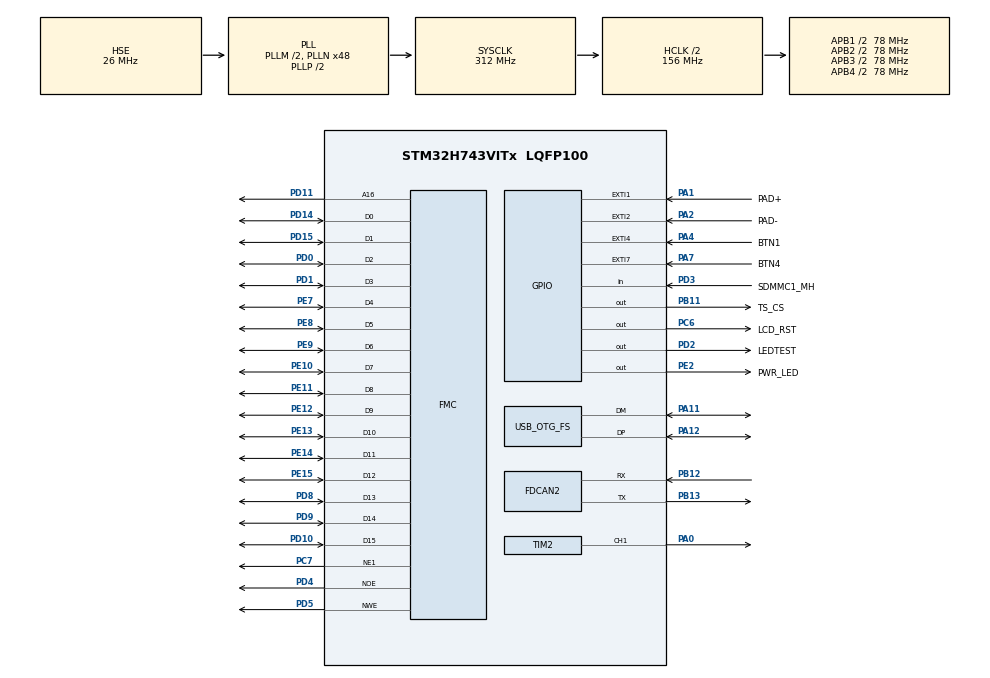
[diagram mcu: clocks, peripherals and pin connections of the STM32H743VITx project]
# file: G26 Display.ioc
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CORTEX_M7.AccessPermission_S-Cortex_Memory_Protection_Unit_Region1_Settings_S=MPU_REGION_FULL_ACCESS
CORTEX_M7.AccessPermission_S-Cortex_Memory_Protection_Unit_Region2_Settings_S=MPU_REGION_FULL_ACCESS
CORTEX_M7.AccessPermission_Spec=MPU_REGION_FULL_ACCESS
CORTEX_M7.BaseAddress_S-Cortex_Memory_Protection_Unit_Region1_Settings_S=0x24000000
CORTEX_M7.BaseAddress_S-Cortex_Memory_Protection_Unit_Region2_Settings_S=0x38000000
CORTEX_M7.BaseAddress_Spec=0x00
CORTEX_M7.CPU_DCache=Enabled
CORTEX_M7.CPU_ICache=Enabled
CORTEX_M7.DisableExec_S-Cortex_Memory_Protection_Unit_Region1_Settings_S=MPU_INSTRUCTION_ACCESS_DISABLE
CORTEX_M7.DisableExec_S-Cortex_Memory_Protection_Unit_Region2_Settings_S=MPU_INSTRUCTION_ACCESS_DISABLE
CORTEX_M7.Enable_S-Cortex_Memory_Protection_Unit_Region1_Settings_S=MPU_REGION_ENABLE
CORTEX_M7.Enable_S-Cortex_Memory_Protection_Unit_Region2_Settings_S=MPU_REGION_ENABLE
CORTEX_M7.Enable_Spec=__NULL
CORTEX_M7.IsBufferable_Spec=MPU_ACCESS_BUFFERABLE
CORTEX_M7.IsCacheable_S-Cortex_Memory_Protection_Unit_Region2_Settings_S=MPU_ACCESS_NOT_CACHEABLE
CORTEX_M7.IsShareable_Spec=MPU_ACCESS_SHAREABLE
CORTEX_M7.MPU_Control=MPU_PRIVILEGED_DEFAULT
CORTEX_M7.Size_S-Cortex_Memory_Protection_Unit_Region1_Settings_S=MPU_REGION_SIZE_512KB
CORTEX_M7.Size_S-Cortex_Memory_Protection_Unit_Region2_Settings_S=MPU_REGION_SIZE_32KB
CORTEX_M7.Size_Spec=MPU_REGION_SIZE_4GB
CORTEX_M7.SubRegionDisable_Spec=0x87
CORTEX_M7.default_mode_Activation=1
DMA2D.ColorMode=DMA2D_OUTPUT_RGB565
DMA2D.Mode=DMA2D_R2M
Dma.Request0=TIM2_CH1
Dma.TIM2_CH1.0.Direction=DMA_MEMORY_TO_PERIPH
Dma.TIM2_CH1.0.EventEnable=DISABLE
Dma.TIM2_CH1.0.FIFOMode=DMA_FIFOMODE_DISABLE
Dma.TIM2_CH1.0.Instance=DMA1_Stream0
Dma.TIM2_CH1.0.MemDataAlignment=DMA_MDATAALIGN_WORD
Dma.TIM2_CH1.0.MemInc=DMA_MINC_ENABLE
Dma.TIM2_CH1.0.Mode=DMA_NORMAL
Dma.TIM2_CH1.0.PeriphDataAlignment=DMA_PDATAALIGN_WORD
Dma.TIM2_CH1.0.PeriphInc=DMA_PINC_DISABLE
Dma.TIM2_CH1.0.Polarity=HAL_DMAMUX_REQ_GEN_RISING
Dma.TIM2_CH1.0.Priority=DMA_PRIORITY_LOW
Dma.TIM2_CH1.0.RequestNumber=1
Dma.TIM2_CH1.0.SignalID=NONE
Dma.TIM2_CH1.0.SyncEnable=DISABLE
Dma.TIM2_CH1.0.SyncPolarity=HAL_DMAMUX_SYNC_NO_EVENT
Dma.TIM2_CH1.0.SyncRequestNumber=1
Dma.TIM2_CH1.0.SyncSignalID=NONE
FDCAN2.CalculateBaudRateNominal=1000000
FDCAN2.CalculateTimeBitNominal=1000
FDCAN2.CalculateTimeQuantumNominal=41.666666666666664
FDCAN2.ClockCalibrationCCU=DISABLE
FDCAN2.DataSyncJumpWidth=11
FDCAN2.DataTimeSeg1=12
FDCAN2.DataTimeSeg2=11
FDCAN2.ExtFiltersNbr=0
FDCAN2.FrameFormat=FDCAN_FRAME_FD_NO_BRS
FDCAN2.Mode=FDCAN_MODE_NORMAL
FDCAN2.NominalPrescaler=1
FDCAN2.NominalSyncJumpWidth=3
FDCAN2.NominalTimeSeg1=20
FDCAN2.NominalTimeSeg2=3
FDCAN2.RxFifo0ElmtsNbr=32
FDCAN2.StdFiltersNbr=1
FDCAN2.TxBuffersNbr=0
FDCAN2.TxFifoQueueElmtsNbr=32
FMC.AddressSetupTime1=2
FMC.BusTurnAroundDuration1=2
FMC.DataSetupTime1=3
IWDG1.Prescaler=IWDG_PRESCALER_32
IWDG1.Reload=999
IWDG1.Window=4095
Mcu.Family=STM32H7
Mcu.Name=STM32H743VITx
Mcu.Package=LQFP100
NVIC.DMA1_Stream0_IRQn=true\:0\:0\:false\:false\:true\:false\:true\:true
NVIC.EXTI1_IRQn=true\:0\:0\:false\:false\:true\:true\:true\:true
NVIC.EXTI2_IRQn=true\:0\:0\:false\:false\:true\:true\:true\:true
NVIC.EXTI4_IRQn=true\:0\:0\:false\:false\:true\:true\:true\:true
NVIC.FDCAN2_IT0_IRQn=true\:2\:0\:true\:false\:true\:true\:true\:true
NVIC.OTG_FS_IRQn=true\:0\:0\:false\:false\:true\:false\:true\:true
NVIC.PriorityGroup=NVIC_PRIORITYGROUP_4
NVIC.TIM15_IRQn=true\:0\:0\:false\:false\:true\:true\:true\:true
PA0.Signal=S_TIM2_CH1_ETR
PA1.GPIO_Label=PAD+
PA1.GPIO_ModeDefaultEXTI=GPIO_MODE_IT_FALLING
PA1.GPIO_PuPd=GPIO_NOPULL
PA1.Signal=GPXTI1
PA11.Mode=Device_Only
PA11.Signal=USB_OTG_FS_DM
PA12.Mode=Device_Only
PA12.Signal=USB_OTG_FS_DP
PA2.GPIO_Label=PAD-
PA2.GPIO_ModeDefaultEXTI=GPIO_MODE_IT_FALLING
PA2.GPIO_PuPd=GPIO_NOPULL
PA2.Signal=GPXTI2
PA4.GPIO_Label=BTN1
PA4.Signal=GPXTI4
PA7.GPIO_Label=BTN4
PA7.Signal=GPXTI7
PB11.GPIO_Label=TS_CS
PB11.Signal=GPIO_Output
PB12.Mode=FDCAN_Activate
PB12.Signal=FDCAN2_RX
PB13.Mode=FDCAN_Activate
PB13.Signal=FDCAN2_TX
PC6.GPIO_Label=LCD_RST
PC6.PinState=GPIO_PIN_SET
PC6.Signal=GPIO_Output
PC7.Mode=NorPsramChipSelect1_1
PC7.Signal=FMC_NE1
PD0.Signal=FMC_D2_DA2
PD1.Signal=FMC_D3_DA3
PD10.Signal=FMC_D15_DA15
PD11.Signal=FMC_A16_CLE
PD14.Signal=FMC_D0_DA0
PD15.Signal=FMC_D1_DA1
PD2.GPIO_Label=LEDTEST
PD2.Signal=GPIO_Output
PD3.GPIO_Label=SDMMC1_MH
PD3.Signal=GPIO_Input
PD4.Signal=FMC_NOE
PD5.Signal=FMC_NWE
PD8.Signal=FMC_D13_DA13
PD9.Signal=FMC_D14_DA14
PE10.Signal=FMC_D7_DA7
PE11.Signal=FMC_D8_DA8
PE12.Signal=FMC_D9_DA9
PE13.Signal=FMC_D10_DA10
PE14.Signal=FMC_D11_DA11
PE15.Signal=FMC_D12_DA12
PE2.GPIO_Label=PWR_LED
PE2.Signal=GPIO_Output
PE7.Signal=FMC_D4_DA4
PE8.Signal=FMC_D5_DA5
PE9.Signal=FMC_D6_DA6
PH0-OSC_IN\ (PH0).Mode=HSE-External-Oscillator
PH0-OSC_IN\ (PH0).Signal=RCC_OSC_IN
PH1-OSC_OUT\ (PH1).Mode=HSE-External-Oscillator
PH1-OSC_OUT\ (PH1).Signal=RCC_OSC_OUT
ProjectManager.HeapSize=0x200
ProjectManager.StackSize=0x400
ProjectManager.TargetToolchain=STM32CubeIDE
RCC.ADCFreq_Value=312000000
RCC.APB1Freq_Value=78000000
RCC.APB2Freq_Value=78000000
RCC.APB3Freq_Value=78000000
RCC.APB4Freq_Value=78000000
RCC.CortexFreq_Value=312000000
RCC.D1PPRE=RCC_APB3_DIV2
RCC.D2PPRE1=RCC_APB1_DIV2
RCC.D2PPRE2=RCC_APB2_DIV2
RCC.D3PPRE=RCC_APB4_DIV2
RCC.DIVM1=2
RCC.DIVM2=2
RCC.DIVM3=2
RCC.DIVN1=48
RCC.DIVN2=48
RCC.DIVN3=14
RCC.DIVQ2=26
RCC.DIVR2=6
RCC.FDCANCLockSelection=RCC_FDCANCLKSOURCE_PLL2
RCC.FMCCLockSelection=RCC_FMCCLKSOURCE_PLL2
RCC.HCLKFreq_Value=156000000
RCC.HPRE=RCC_HCLK_DIV2
RCC.HSE_VALUE=26000000
RCC.PLL2FRACN=0
RCC.PLL3_VCI_Range-AdvancedSettings=RCC_PLL3VCIRANGE_0
RCC.PLLFRACN=0
RCC.PLLSourceVirtual=RCC_PLLSOURCE_HSE
RCC.SDMMC1CLockSelection=RCC_SDMMCCLKSOURCE_PLL2
RCC.SPI123CLockSelection=RCC_SPI123CLKSOURCE_PLL3
RCC.SYSCLKFreq_VALUE=312000000
RCC.SYSCLKSource=RCC_SYSCLKSOURCE_PLLCLK
RCC.USBCLockSelection=RCC_USBCLKSOURCE_HSI48
RCC.USBFreq_Value=48000000
SH.FMC_A16_CLE.0=FMC_A16,A16_1
SH.FMC_D0_DA0.0=FMC_D0,16b-d1
SH.FMC_D10_DA10.0=FMC_D10,16b-d1
SH.FMC_D11_DA11.0=FMC_D11,16b-d1
SH.FMC_D12_DA12.0=FMC_D12,16b-d1
SH.FMC_D13_DA13.0=FMC_D13,16b-d1
SH.FMC_D14_DA14.0=FMC_D14,16b-d1
SH.FMC_D15_DA15.0=FMC_D15,16b-d1
SH.FMC_D1_DA1.0=FMC_D1,16b-d1
SH.FMC_D2_DA2.0=FMC_D2,16b-d1
SH.FMC_D3_DA3.0=FMC_D3,16b-d1
SH.FMC_D4_DA4.0=FMC_D4,16b-d1
SH.FMC_D5_DA5.0=FMC_D5,16b-d1
SH.FMC_D6_DA6.0=FMC_D6,16b-d1
SH.FMC_D7_DA7.0=FMC_D7,16b-d1
SH.FMC_D8_DA8.0=FMC_D8,16b-d1
SH.FMC_D9_DA9.0=FMC_D9,16b-d1
SH.FMC_NOE.0=FMC_NOE,Lcd1
SH.FMC_NWE.0=FMC_NWE,Lcd1
SH.S_TIM2_CH1_ETR.0=TIM2_CH1,PWM Generation1 CH1
STMicroelectronics.X-CUBE-TOUCHGFX.4.26.1_IsPackSelfContextualization=true
TIM15.Prescaler=24
TIM2.Channel-PWM\ Generation1\ CH1=TIM_CHANNEL_1
TIM2.Period=195
USB_DEVICE.CLASS_NAME_FS=CDC
USB_DEVICE.VirtualMode-CDC_FS=Cdc
USB_DEVICE.VirtualModeFS=Cdc_FS
USB_OTG_FS.VirtualMode=Device_Only
VP_DMA2D_VS_DMA2D.Mode=DMA2D_Activate
VP_IWDG1_VS_IWDG.Mode=IWDG_Activate
VP_MEMORYMAP_VS_MEMORYMAP.Mode=CurAppReg
VP_TIM15_VS_ClockSourceINT.Mode=Internal
VP_TIM2_VS_ClockSourceINT.Mode=Internal
VP_USB_DEVICE_VS_USB_DEVICE_CDC_FS.Mode=CDC_FS
board=custom

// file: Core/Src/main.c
/* USER CODE BEGIN Header */
/**
  ******************************************************************************
  * @file           : main.c
  * @brief          : Main program body
  ******************************************************************************
  * @attention
  *
  * Copyright (c) 2025 STMicroelectronics.
  * All rights reserved.
  *
  * This software is licensed under terms that can be found in the LICENSE file
  * in the root directory of this software component.
  * If no LICENSE file comes with this software, it is provided AS-IS.
  *
  ******************************************************************************
  */
/* USER CODE END Header */
#include "main.h"
#include "usb_device.h"

/* USER CODE BEGIN Includes */
#include "lcd_io.h"
#include "rpiDisplayShapes.h"
#include "FreeMonoBold24pt7b.h"
#include "FreeSans18pt7b.h"
#include "rpiSceneBuilderUser.h"
#include "shiftLights.h"
#include "rpiDisplayShapes.h"
#include "easyusbprintln.h"
#include "data.h"
#include <stdio.h>
#include <stdlib.h>
/* USER CODE END Includes */

DMA2D_HandleTypeDef hdma2d;

FDCAN_HandleTypeDef hfdcan2;

IWDG_HandleTypeDef hiwdg1;

TIM_HandleTypeDef htim2;
TIM_HandleTypeDef htim15;
DMA_HandleTypeDef hdma_tim2_ch1;

SRAM_HandleTypeDef hsram1;

void SystemClock_Config(void);
void PeriphCommonClock_Config(void);
static void MPU_Config(void);
static void MX_GPIO_Init(void);
static void MX_DMA_Init(void);
static void MX_TIM2_Init(void);
static void MX_FMC_Init(void);
static void MX_DMA2D_Init(void);
static void MX_FDCAN2_Init(void);
static void MX_TIM15_Init(void);
static void MX_IWDG1_Init(void);

/* USER CODE BEGIN 0 */
uint8_t ledcolors[48];
uint32_t ledbytes[(16 * 24) + 150] __attribute__((section(".nocache")));;
extern uint16_t framebuffer[];

char shiftCounterChar[20] = "";
volatile uint8_t shiftCounter = 0;
volatile uint32_t lastSendMs = 0;
uint8_t shiftCommand;
uint8_t sparkCutFlag = 0;
uint8_t sparkCutCommand = 1;
uint32_t lastShift = 0;

uint8_t button1 = 0;
uint8_t button2 = 0;
uint32_t btn1Hit;
uint32_t btn2Hit;
uint8_t currentScreen = 0;
uint8_t resetFlag = 0;

void HAL_GPIO_EXTI_Callback(uint16_t GPIO_Pin) {
	uint32_t now = HAL_GetTick();

	if ((now - lastShift) < 250)
		return;

	lastShift = now;

  if (GPIO_Pin == PAD__Pin) {
	// Up Shift
	shiftCounter++;
	shiftCommand = 1;
  } else if (GPIO_Pin == PAD_A2_Pin) {
	// Down Shift
	shiftCounter++;
	shiftCommand = 2;
  } else if (GPIO_Pin == BTN1_Pin) {
	resetFlag = 1;
  }
}

uint8_t timerBool = 0;

void HAL_TIM_PeriodElapsedCallback(TIM_HandleTypeDef *htim) {
	if (htim->Instance == TIM15) {
		timerBool = 1;
	}
}

FDCAN_FilterTypeDef canfilter;

FDCAN_RxHeaderTypeDef rxHeader;
uint8_t rxData[16];
volatile uint8_t dataRecieved = 0;
uint32_t id;

void HAL_FDCAN_RxFifo0Callback(FDCAN_HandleTypeDef *hfdcan, uint32_t RxFifo0ITs) {

  if ((RxFifo0ITs & FDCAN_IT_RX_FIFO0_NEW_MESSAGE) != RESET) {

    HAL_FDCAN_GetRxMessage(&hfdcan2, FDCAN_RX_FIFO0, &rxHeader, rxData);

    id = rxHeader.Identifier;
    dataRecieved = 1;
  }
}

uint32_t lastDraw = 0;

void updateMainData(void) {
  processCAN(id, rxData);
}

extern uint16_t rpmVal;
int checkShift() {
	if (shiftCommand == 1) {
		return 1;
	} else if (rpmVal > 10000) {
		return 0;
	}
	return 1;
}

/* USER CODE END 0 */

int main(void)
{

  /* MPU Configuration--------------------------------------------------------*/
  MPU_Config();

  /* Enable the CPU Cache */

  /* Enable I-Cache---------------------------------------------------------*/
  SCB_EnableICache();

  /* Enable D-Cache---------------------------------------------------------*/
  SCB_EnableDCache();

  /* MCU Configuration--------------------------------------------------------*/

  /* Reset of all peripherals, Initializes the Flash interface and the Systick. */
  HAL_Init();

  /* USER CODE BEGIN Init */
  //__HAL_RCC_FMC_CLK_ENABLE();
  /* USER CODE END Init */

  /* Configure the system clock */
  SystemClock_Config();

  /* Configure the peripherals common clocks */
  PeriphCommonClock_Config();

  /* Initialize all configured peripherals */
  MX_GPIO_Init();
  MX_DMA_Init();
  MX_TIM2_Init();
  MX_FMC_Init();
  MX_DMA2D_Init();
  MX_USB_DEVICE_Init();
  MX_FDCAN2_Init();
  MX_TIM15_Init();
  MX_IWDG1_Init();
  /* USER CODE BEGIN 2 */

	canfilter.IdType = FDCAN_STANDARD_ID;
	canfilter.FilterIndex = 0;
	canfilter.FilterType = FDCAN_FILTER_MASK;
	canfilter.FilterConfig = FDCAN_FILTER_TO_RXFIFO0;
	canfilter.FilterID1 = 0x000;
	canfilter.FilterID2 = 0x000;

  HAL_FDCAN_ConfigFilter(&hfdcan2, &canfilter);
  HAL_FDCAN_Start(&hfdcan2);
  HAL_FDCAN_ActivateNotification(&hfdcan2, FDCAN_IT_RX_FIFO0_NEW_MESSAGE, 0);

  HAL_SetFMCMemorySwappingConfig(FMC_SWAPBMAP_SDRAM_SRAM);
  /* USER CODE END 2 */

  /* Infinite loop */
  /* USER CODE BEGIN WHILE */

  shiftLightsInit(&htim2, TIM_CHANNEL_1, ledcolors, ledbytes);
  startUp(&htim2, TIM_CHANNEL_1, ledcolors, ledbytes);
  setColorAll(&htim2, TIM_CHANNEL_1, 0, 0, 0, ledcolors, ledbytes);

  HAL_TIM_Base_Start_IT(&htim15);

  lcdInit();

  MX_IWDG1_Init();

  while (1) {

	  HAL_IWDG_Refresh(&hiwdg1);

	  if (checkShift() && timerBool == 1) {
		FDCAN_TxHeaderTypeDef txShiftHeader;
		uint8_t txData[8] = {0};
		txData[2] = sparkCutCommand;
		txData[1] = shiftCounter;
		txData[0] = shiftCommand;

		txShiftHeader.Identifier = 172;
		txShiftHeader.IdType = FDCAN_STANDARD_ID;
		txShiftHeader.TxFrameType = FDCAN_DATA_FRAME;
		txShiftHeader.DataLength = FDCAN_DLC_BYTES_8;
		txShiftHeader.ErrorStateIndicator = FDCAN_ESI_ACTIVE;
		txShiftHeader.BitRateSwitch = FDCAN_BRS_OFF;
		txShiftHeader.FDFormat = FDCAN_CLASSIC_CAN;
		txShiftHeader.MessageMarker = 0;

		HAL_FDCAN_AddMessageToTxFifoQ(&hfdcan2, &txShiftHeader, txData);

		timerBool = 0;
	  }

	  if (dataRecieved) {
		  updateMainData();
		  dataRecieved = 0;
	  }

	  if (HAL_GetTick() - lastDraw >= 50) {
	      lastDraw = HAL_GetTick();
	      domainscreen();
	  }

	  if (resetFlag) {
		  NVIC_SystemReset();
		  resetFlag = 0;
	  }
    /* USER CODE END WHILE */

  }
}

void SystemClock_Config(void)
{
  RCC_OscInitTypeDef RCC_OscInitStruct = {0};
  RCC_ClkInitTypeDef RCC_ClkInitStruct = {0};

  /** Supply configuration update enable
  */
  HAL_PWREx_ConfigSupply(PWR_LDO_SUPPLY);

  /** Configure the main internal regulator output voltage
  */
  __HAL_PWR_VOLTAGESCALING_CONFIG(PWR_REGULATOR_VOLTAGE_SCALE1);

  while(!__HAL_PWR_GET_FLAG(PWR_FLAG_VOSRDY)) {}

  /** Initializes the RCC Oscillators according to the specified parameters
  * in the RCC_OscInitTypeDef structure.
  */
  RCC_OscInitStruct.OscillatorType = RCC_OSCILLATORTYPE_HSI48|RCC_OSCILLATORTYPE_LSI
                              |RCC_OSCILLATORTYPE_HSE;
  RCC_OscInitStruct.HSEState = RCC_HSE_ON;
  RCC_OscInitStruct.LSIState = RCC_LSI_ON;
  RCC_OscInitStruct.HSI48State = RCC_HSI48_ON;
  RCC_OscInitStruct.PLL.PLLState = RCC_PLL_ON;
  RCC_OscInitStruct.PLL.PLLSource = RCC_PLLSOURCE_HSE;
  RCC_OscInitStruct.PLL.PLLM = 2;
  RCC_OscInitStruct.PLL.PLLN = 48;
  RCC_OscInitStruct.PLL.PLLP = 2;
  RCC_OscInitStruct.PLL.PLLQ = 2;
  RCC_OscInitStruct.PLL.PLLR = 2;
  RCC_OscInitStruct.PLL.PLLRGE = RCC_PLL1VCIRANGE_3;
  RCC_OscInitStruct.PLL.PLLVCOSEL = RCC_PLL1VCOWIDE;
  RCC_OscInitStruct.PLL.PLLFRACN = 0;
  if (HAL_RCC_OscConfig(&RCC_OscInitStruct) != HAL_OK)
  {
    Error_Handler();
  }

  /** Initializes the CPU, AHB and APB buses clocks
  */
  RCC_ClkInitStruct.ClockType = RCC_CLOCKTYPE_HCLK|RCC_CLOCKTYPE_SYSCLK
                              |RCC_CLOCKTYPE_PCLK1|RCC_CLOCKTYPE_PCLK2
                              |RCC_CLOCKTYPE_D3PCLK1|RCC_CLOCKTYPE_D1PCLK1;
  RCC_ClkInitStruct.SYSCLKSource = RCC_SYSCLKSOURCE_PLLCLK;
  RCC_ClkInitStruct.SYSCLKDivider = RCC_SYSCLK_DIV1;
  RCC_ClkInitStruct.AHBCLKDivider = RCC_HCLK_DIV2;
  RCC_ClkInitStruct.APB3CLKDivider = RCC_APB3_DIV2;
  RCC_ClkInitStruct.APB1CLKDivider = RCC_APB1_DIV2;
  RCC_ClkInitStruct.APB2CLKDivider = RCC_APB2_DIV2;
  RCC_ClkInitStruct.APB4CLKDivider = RCC_APB4_DIV2;

  if (HAL_RCC_ClockConfig(&RCC_ClkInitStruct, FLASH_LATENCY_2) != HAL_OK)
  {
    Error_Handler();
  }
}

void PeriphCommonClock_Config(void)
{
  RCC_PeriphCLKInitTypeDef PeriphClkInitStruct = {0};

  /** Initializes the peripherals clock
  */
  PeriphClkInitStruct.PeriphClockSelection = RCC_PERIPHCLK_FMC|RCC_PERIPHCLK_FDCAN;
  PeriphClkInitStruct.PLL2.PLL2M = 2;
  PeriphClkInitStruct.PLL2.PLL2N = 48;
  PeriphClkInitStruct.PLL2.PLL2P = 2;
  PeriphClkInitStruct.PLL2.PLL2Q = 26;
  PeriphClkInitStruct.PLL2.PLL2R = 6;
  PeriphClkInitStruct.PLL2.PLL2RGE = RCC_PLL2VCIRANGE_3;
  PeriphClkInitStruct.PLL2.PLL2VCOSEL = RCC_PLL2VCOWIDE;
  PeriphClkInitStruct.PLL2.PLL2FRACN = 0;
  PeriphClkInitStruct.FmcClockSelection = RCC_FMCCLKSOURCE_PLL2;
  PeriphClkInitStruct.FdcanClockSelection = RCC_FDCANCLKSOURCE_PLL2;
  if (HAL_RCCEx_PeriphCLKConfig(&PeriphClkInitStruct) != HAL_OK)
  {
    Error_Handler();
  }
}

static void MX_DMA2D_Init(void)
{

  hdma2d.Instance = DMA2D;
  hdma2d.Init.Mode = DMA2D_R2M;
  hdma2d.Init.ColorMode = DMA2D_OUTPUT_RGB565;
  hdma2d.Init.OutputOffset = 0;
  if (HAL_DMA2D_Init(&hdma2d) != HAL_OK)
  {
    Error_Handler();
  }

}

static void MX_FDCAN2_Init(void)
{

  hfdcan2.Instance = FDCAN2;
  hfdcan2.Init.FrameFormat = FDCAN_FRAME_FD_NO_BRS;
  hfdcan2.Init.Mode = FDCAN_MODE_NORMAL;
  hfdcan2.Init.AutoRetransmission = DISABLE;
  hfdcan2.Init.TransmitPause = DISABLE;
  hfdcan2.Init.ProtocolException = DISABLE;
  hfdcan2.Init.NominalPrescaler = 1;
  hfdcan2.Init.NominalSyncJumpWidth = 3;
  hfdcan2.Init.NominalTimeSeg1 = 20;
  hfdcan2.Init.NominalTimeSeg2 = 3;
  hfdcan2.Init.DataPrescaler = 1;
  hfdcan2.Init.DataSyncJumpWidth = 11;
  hfdcan2.Init.DataTimeSeg1 = 12;
  hfdcan2.Init.DataTimeSeg2 = 11;
  hfdcan2.Init.MessageRAMOffset = 0;
  hfdcan2.Init.StdFiltersNbr = 1;
  hfdcan2.Init.ExtFiltersNbr = 0;
  hfdcan2.Init.RxFifo0ElmtsNbr = 32;
  hfdcan2.Init.RxFifo0ElmtSize = FDCAN_DATA_BYTES_8;
  hfdcan2.Init.RxFifo1ElmtsNbr = 0;
  hfdcan2.Init.RxFifo1ElmtSize = FDCAN_DATA_BYTES_8;
  hfdcan2.Init.RxBuffersNbr = 0;
  hfdcan2.Init.RxBufferSize = FDCAN_DATA_BYTES_8;
  hfdcan2.Init.TxEventsNbr = 0;
  hfdcan2.Init.TxBuffersNbr = 0;
  hfdcan2.Init.TxFifoQueueElmtsNbr = 32;
  hfdcan2.Init.TxFifoQueueMode = FDCAN_TX_FIFO_OPERATION;
  hfdcan2.Init.TxElmtSize = FDCAN_DATA_BYTES_8;
  if (HAL_FDCAN_Init(&hfdcan2) != HAL_OK)
  {
    Error_Handler();
  }

}

static void MX_IWDG1_Init(void)
{

  hiwdg1.Instance = IWDG1;
  hiwdg1.Init.Prescaler = IWDG_PRESCALER_32;
  hiwdg1.Init.Window = 4095;
  hiwdg1.Init.Reload = 999;
  if (HAL_IWDG_Init(&hiwdg1) != HAL_OK)
  {
    Error_Handler();
  }

}

static void MX_TIM2_Init(void)
{

  TIM_ClockConfigTypeDef sClockSourceConfig = {0};
  TIM_MasterConfigTypeDef sMasterConfig = {0};
  TIM_OC_InitTypeDef sConfigOC = {0};

  htim2.Instance = TIM2;
  htim2.Init.Prescaler = 0;
  htim2.Init.CounterMode = TIM_COUNTERMODE_UP;
  htim2.Init.Period = 195;
  htim2.Init.ClockDivision = TIM_CLOCKDIVISION_DIV1;
  htim2.Init.AutoReloadPreload = TIM_AUTORELOAD_PRELOAD_DISABLE;
  if (HAL_TIM_Base_Init(&htim2) != HAL_OK)
  {
    Error_Handler();
  }
  sClockSourceConfig.ClockSource = TIM_CLOCKSOURCE_INTERNAL;
  if (HAL_TIM_ConfigClockSource(&htim2, &sClockSourceConfig) != HAL_OK)
  {
    Error_Handler();
  }
  if (HAL_TIM_PWM_Init(&htim2) != HAL_OK)
  {
    Error_Handler();
  }
  sMasterConfig.MasterOutputTrigger = TIM_TRGO_RESET;
  sMasterConfig.MasterSlaveMode = TIM_MASTERSLAVEMODE_DISABLE;
  if (HAL_TIMEx_MasterConfigSynchronization(&htim2, &sMasterConfig) != HAL_OK)
  {
    Error_Handler();
  }
  sConfigOC.OCMode = TIM_OCMODE_PWM1;
  sConfigOC.Pulse = 0;
  sConfigOC.OCPolarity = TIM_OCPOLARITY_HIGH;
  sConfigOC.OCFastMode = TIM_OCFAST_DISABLE;
  if (HAL_TIM_PWM_ConfigChannel(&htim2, &sConfigOC, TIM_CHANNEL_1) != HAL_OK)
  {
    Error_Handler();
  }
  HAL_TIM_MspPostInit(&htim2);

}

static void MX_TIM15_Init(void)
{

  TIM_ClockConfigTypeDef sClockSourceConfig = {0};
  TIM_MasterConfigTypeDef sMasterConfig = {0};

  htim15.Instance = TIM15;
  htim15.Init.Prescaler = 24;
  htim15.Init.CounterMode = TIM_COUNTERMODE_UP;
  htim15.Init.Period = 65535;
  htim15.Init.ClockDivision = TIM_CLOCKDIVISION_DIV1;
  htim15.Init.RepetitionCounter = 0;
  htim15.Init.AutoReloadPreload = TIM_AUTORELOAD_PRELOAD_DISABLE;
  if (HAL_TIM_Base_Init(&htim15) != HAL_OK)
  {
    Error_Handler();
  }
  sClockSourceConfig.ClockSource = TIM_CLOCKSOURCE_INTERNAL;
  if (HAL_TIM_ConfigClockSource(&htim15, &sClockSourceConfig) != HAL_OK)
  {
    Error_Handler();
  }
  sMasterConfig.MasterOutputTrigger = TIM_TRGO_RESET;
  sMasterConfig.MasterSlaveMode = TIM_MASTERSLAVEMODE_DISABLE;
  if (HAL_TIMEx_MasterConfigSynchronization(&htim15, &sMasterConfig) != HAL_OK)
  {
    Error_Handler();
  }

}

static void MX_DMA_Init(void)
{

  /* DMA controller clock enable */
  __HAL_RCC_DMA1_CLK_ENABLE();

  /* DMA interrupt init */
  /* DMA1_Stream0_IRQn interrupt configuration */
  HAL_NVIC_SetPriority(DMA1_Stream0_IRQn, 0, 0);
  HAL_NVIC_EnableIRQ(DMA1_Stream0_IRQn);

}

/* FMC initialization function */
static void MX_FMC_Init(void)
{

  FMC_NORSRAM_TimingTypeDef Timing = {0};

  /** Perform the SRAM1 memory initialization sequence
  */
  hsram1.Instance = FMC_NORSRAM_DEVICE;
  hsram1.Extended = FMC_NORSRAM_EXTENDED_DEVICE;
  /* hsram1.Init */
  hsram1.Init.NSBank = FMC_NORSRAM_BANK1;
  hsram1.Init.DataAddressMux = FMC_DATA_ADDRESS_MUX_DISABLE;
  hsram1.Init.MemoryType = FMC_MEMORY_TYPE_SRAM;
  hsram1.Init.MemoryDataWidth = FMC_NORSRAM_MEM_BUS_WIDTH_16;
  hsram1.Init.BurstAccessMode = FMC_BURST_ACCESS_MODE_DISABLE;
  hsram1.Init.WaitSignalPolarity = FMC_WAIT_SIGNAL_POLARITY_LOW;
  hsram1.Init.WaitSignalActive = FMC_WAIT_TIMING_BEFORE_WS;
  hsram1.Init.WriteOperation = FMC_WRITE_OPERATION_ENABLE;
  hsram1.Init.WaitSignal = FMC_WAIT_SIGNAL_DISABLE;
  hsram1.Init.ExtendedMode = FMC_EXTENDED_MODE_DISABLE;
  hsram1.Init.AsynchronousWait = FMC_ASYNCHRONOUS_WAIT_DISABLE;
  hsram1.Init.WriteBurst = FMC_WRITE_BURST_DISABLE;
  hsram1.Init.ContinuousClock = FMC_CONTINUOUS_CLOCK_SYNC_ONLY;
  hsram1.Init.WriteFifo = FMC_WRITE_FIFO_ENABLE;
  hsram1.Init.PageSize = FMC_PAGE_SIZE_NONE;
  /* Timing */
  Timing.AddressSetupTime = 2;
  Timing.AddressHoldTime = 15;
  Timing.DataSetupTime = 3;
  Timing.BusTurnAroundDuration = 2;
  Timing.CLKDivision = 16;
  Timing.DataLatency = 17;
  Timing.AccessMode = FMC_ACCESS_MODE_A;
  /* ExtTiming */

  if (HAL_SRAM_Init(&hsram1, &Timing, NULL) != HAL_OK)
  {
    Error_Handler( );
  }

}

static void MX_GPIO_Init(void)
{
  GPIO_InitTypeDef GPIO_InitStruct = {0};

  /* GPIO Ports Clock Enable */
  __HAL_RCC_GPIOE_CLK_ENABLE();
  __HAL_RCC_GPIOH_CLK_ENABLE();
  __HAL_RCC_GPIOA_CLK_ENABLE();
  __HAL_RCC_GPIOB_CLK_ENABLE();
  __HAL_RCC_GPIOD_CLK_ENABLE();
  __HAL_RCC_GPIOC_CLK_ENABLE();

  /*Configure GPIO pin Output Level */
  HAL_GPIO_WritePin(PWR_LED_GPIO_Port, PWR_LED_Pin, GPIO_PIN_RESET);

  /*Configure GPIO pin Output Level */
  HAL_GPIO_WritePin(TS_CS_GPIO_Port, TS_CS_Pin, GPIO_PIN_RESET);

  /*Configure GPIO pin Output Level */
  HAL_GPIO_WritePin(LCD_RST_GPIO_Port, LCD_RST_Pin, GPIO_PIN_SET);

  /*Configure GPIO pin Output Level */
  HAL_GPIO_WritePin(LEDTEST_GPIO_Port, LEDTEST_Pin, GPIO_PIN_RESET);

  /*Configure GPIO pin : PWR_LED_Pin */
  GPIO_InitStruct.Pin = PWR_LED_Pin;
  GPIO_InitStruct.Mode = GPIO_MODE_OUTPUT_PP;
  GPIO_InitStruct.Pull = GPIO_NOPULL;
  GPIO_InitStruct.Speed = GPIO_SPEED_FREQ_LOW;
  HAL_GPIO_Init(PWR_LED_GPIO_Port, &GPIO_InitStruct);

  /*Configure GPIO pins : PAD__Pin PAD_A2_Pin */
  GPIO_InitStruct.Pin = PAD__Pin|PAD_A2_Pin;
  GPIO_InitStruct.Mode = GPIO_MODE_IT_FALLING;
  GPIO_InitStruct.Pull = GPIO_NOPULL;
  HAL_GPIO_Init(GPIOA, &GPIO_InitStruct);

  /*Configure GPIO pins : BTN1_Pin BTN4_Pin */
  GPIO_InitStruct.Pin = BTN1_Pin|BTN4_Pin;
  GPIO_InitStruct.Mode = GPIO_MODE_IT_RISING;
  GPIO_InitStruct.Pull = GPIO_NOPULL;
  HAL_GPIO_Init(GPIOA, &GPIO_InitStruct);

  /*Configure GPIO pin : TS_CS_Pin */
  GPIO_InitStruct.Pin = TS_CS_Pin;
  GPIO_InitStruct.Mode = GPIO_MODE_OUTPUT_PP;
  GPIO_InitStruct.Pull = GPIO_NOPULL;
  GPIO_InitStruct.Speed = GPIO_SPEED_FREQ_LOW;
  HAL_GPIO_Init(TS_CS_GPIO_Port, &GPIO_InitStruct);

  /*Configure GPIO pin : LCD_RST_Pin */
  GPIO_InitStruct.Pin = LCD_RST_Pin;
  GPIO_InitStruct.Mode = GPIO_MODE_OUTPUT_PP;
  GPIO_InitStruct.Pull = GPIO_NOPULL;
  GPIO_InitStruct.Speed = GPIO_SPEED_FREQ_LOW;
  HAL_GPIO_Init(LCD_RST_GPIO_Port, &GPIO_InitStruct);

  /*Configure GPIO pin : LEDTEST_Pin */
  GPIO_InitStruct.Pin = LEDTEST_Pin;
  GPIO_InitStruct.Mode = GPIO_MODE_OUTPUT_PP;
  GPIO_InitStruct.Pull = GPIO_NOPULL;
  GPIO_InitStruct.Speed = GPIO_SPEED_FREQ_LOW;
  HAL_GPIO_Init(LEDTEST_GPIO_Port, &GPIO_InitStruct);

  /*Configure GPIO pin : SDMMC1_MH_Pin */
  GPIO_InitStruct.Pin = SDMMC1_MH_Pin;
  GPIO_InitStruct.Mode = GPIO_MODE_INPUT;
  GPIO_InitStruct.Pull = GPIO_NOPULL;
  HAL_GPIO_Init(SDMMC1_MH_GPIO_Port, &GPIO_InitStruct);

  /* EXTI interrupt init*/
  HAL_NVIC_SetPriority(PAD__EXTI_IRQn, 0, 0);
  HAL_NVIC_EnableIRQ(PAD__EXTI_IRQn);

  HAL_NVIC_SetPriority(PAD_A2_EXTI_IRQn, 0, 0);
  HAL_NVIC_EnableIRQ(PAD_A2_EXTI_IRQn);

  HAL_NVIC_SetPriority(BTN1_EXTI_IRQn, 0, 0);
  HAL_NVIC_EnableIRQ(BTN1_EXTI_IRQn);

}

 /* MPU Configuration */

void MPU_Config(void)
{
  MPU_Region_InitTypeDef MPU_InitStruct = {0};

  /* Disables the MPU */
  HAL_MPU_Disable();

  /** Initializes and configures the Region and the memory to be protected
  */
  MPU_InitStruct.Enable = MPU_REGION_ENABLE;
  MPU_InitStruct.BaseAddress = 0x24000000;
  MPU_InitStruct.Size = MPU_REGION_SIZE_512KB;
  MPU_InitStruct.SubRegionDisable = 0x0;
  MPU_InitStruct.TypeExtField = MPU_TEX_LEVEL0;
  MPU_InitStruct.AccessPermission = MPU_REGION_FULL_ACCESS;
  MPU_InitStruct.DisableExec = MPU_INSTRUCTION_ACCESS_DISABLE;
  MPU_InitStruct.IsShareable = MPU_ACCESS_NOT_SHAREABLE;
  MPU_InitStruct.IsCacheable = MPU_ACCESS_NOT_CACHEABLE;
  MPU_InitStruct.IsBufferable = MPU_ACCESS_NOT_BUFFERABLE;

  HAL_MPU_ConfigRegion(&MPU_InitStruct);

  /** Initializes and configures the Region and the memory to be protected
  */
  MPU_InitStruct.BaseAddress = 0x38000000;
  MPU_InitStruct.Size = MPU_REGION_SIZE_32KB;

  HAL_MPU_ConfigRegion(&MPU_InitStruct);
  /* Enables the MPU */
  HAL_MPU_Enable(MPU_PRIVILEGED_DEFAULT);

}

void Error_Handler(void)
{
  __disable_irq();
  while (1)
  {
  }
}
